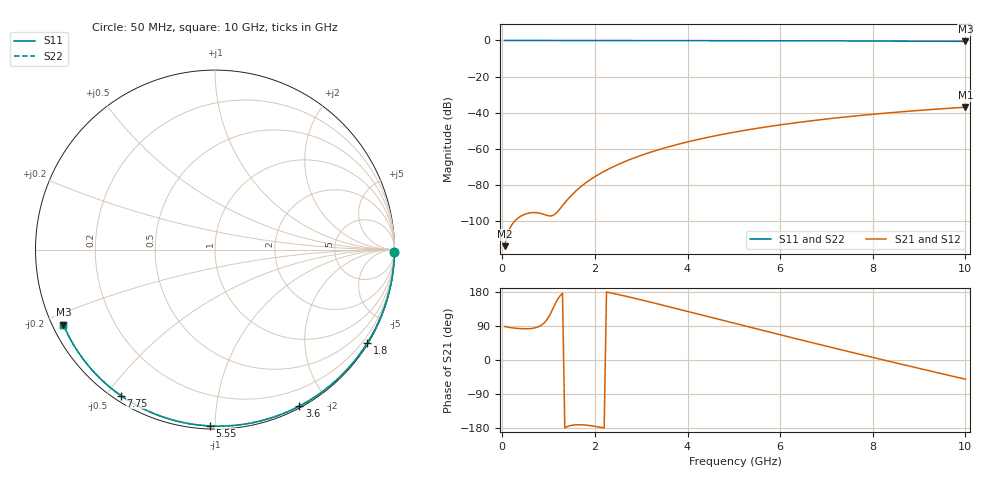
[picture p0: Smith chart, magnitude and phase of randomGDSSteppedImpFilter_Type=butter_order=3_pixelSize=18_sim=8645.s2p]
! freq	dB(S11)	phase(S11)	dB(S12)	phase(S12)
!  dB(S21)	phase(S21)	dB(S22)	phase(S22)
!S-par simulation data
#  GHz  S  DB  R 50
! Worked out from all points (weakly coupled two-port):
!   200 points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, 50 MHz to 10 GHz, reference 50 ohm
!   highest |S21| = -36.92 dB at 10 GHz (marker M1); lowest = -113.8 dB at 50 MHz (marker M2)
!   lowest |S11| = -0.5 dB at 10 GHz (marker M3), VSWR 33.91, Z = 1.56 - j11.7 ohm
!   |S11| at or under -10 dB: nowhere
!   |S22| runs from -0.5 to 0.0 dB; largest |S21 - S12| = 0
!   S11 on the Smith chart (normalised r, x): 50 MHz: open; 1.8 GHz: 0.03, -3.53; 3.6 GHz: 0.02, -1.68; 5.55 GHz: 0.02, -0.97; 7.75 GHz: 0.02, -0.54; 10 GHz: 0.03, -0.23
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0.05  -0.00 -0.9  -113.79 88.5  -113.79 88.5  -0.00 -0.9
0.45  -0.01 -8.0  -96.53 82.4  -96.53 82.4  -0.01 -8.0
0.9  -0.02 -16.0  -96.23 97.4  -96.23 97.4  -0.02 -16.0
1.7  -0.04 -29.9  -80.79 -170.9  -80.79 -170.9  -0.04 -29.9
1.75  -0.04 -30.8  -79.77 -171.3  -79.77 -171.3  -0.04 -30.8
1.8  -0.04 -31.7  -78.81 -171.8  -78.81 -171.8  -0.04 -31.7
1.95  -0.04 -34.2  -76.15 -174.0  -76.15 -174.0  -0.04 -34.2
2.1  -0.05 -36.8  -73.81 -177.0  -73.81 -177.0  -0.05 -36.8
2.3  -0.05 -40.2  -71.05 178.2  -71.05 178.2  -0.05 -40.2
2.5  -0.06 -43.6  -68.62 173.0  -68.62 173.0  -0.06 -43.6
2.9  -0.07 -50.2  -64.47 161.6  -64.47 161.6  -0.07 -50.2
3.4  -0.08 -58.4  -60.24 146.6  -60.24 146.6  -0.08 -58.4
3.6  -0.08 -61.6  -58.77 140.5  -58.77 140.5  -0.08 -61.6
4.3  -0.10 -72.7  -54.35 118.9  -54.35 118.9  -0.10 -72.7
5.05  -0.13 -84.2  -50.54 95.7  -50.54 95.7  -0.13 -84.2
5.55  -0.15 -91.6  -48.40 80.3  -48.40 80.3  -0.15 -91.6
6.1  -0.18 -99.7  -46.33 63.5  -46.33 63.5  -0.18 -99.7
6.7  -0.21 -108.2  -44.35 45.4  -44.35 45.4  -0.21 -108.2
7.75  -0.28 -122.8  -41.44 14.1  -41.44 14.1  -0.28 -122.8
8.35  -0.33 -131.1  -40.03 -3.4  -40.03 -3.4  -0.33 -131.0
9.2  -0.42 -142.7  -38.30 -27.9  -38.30 -27.9  -0.42 -142.7
10  -0.51 -153.7  -36.92 -50.7  -36.92 -50.7  -0.51 -153.7
